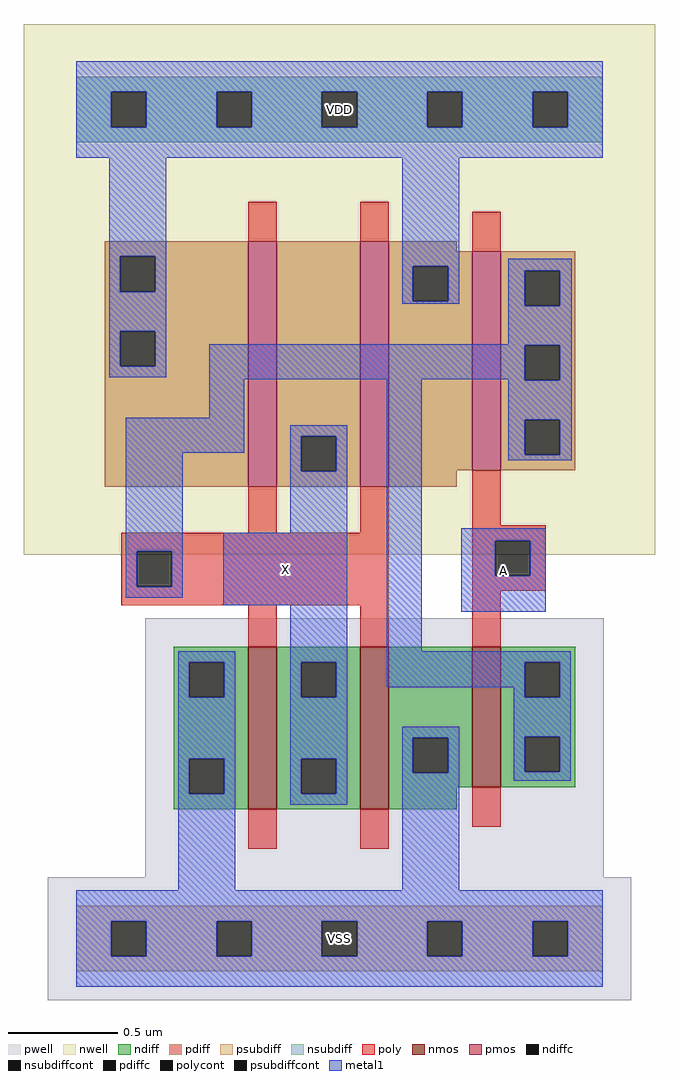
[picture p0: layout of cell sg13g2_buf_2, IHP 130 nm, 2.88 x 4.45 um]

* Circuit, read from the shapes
.subckt sg13g2_buf_2 VSS VDD X A
XM1 X n1 VSS VSS sg13_lv_nmos w=0.74u l=0.13u m=2
XM2 n1 A VSS VSS sg13_lv_nmos w=0.64u l=0.13u
XM3 X n1 VDD VDD sg13_lv_pmos w=1.12u l=0.13u m=2
XM4 n1 A VDD VDD sg13_lv_pmos w=1u l=0.13u
.ends

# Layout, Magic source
magic
tech ihp-sg13g2
magscale 1 2
<< nwell >>
rect -48 350 528 834
<< pwell >>
rect 63 56 481 292
rect -26 -56 506 56
<< nmos >>
rect 157 118 183 266
rect 259 118 285 266
rect 361 138 387 266
<< pmos >>
rect 157 412 183 636
rect 259 412 285 636
rect 361 427 387 627
<< ndiff >>
rect 89 252 157 266
rect 89 220 103 252
rect 135 220 157 252
rect 89 164 157 220
rect 89 132 103 164
rect 135 132 157 164
rect 89 118 157 132
rect 183 252 259 266
rect 183 220 205 252
rect 237 220 259 252
rect 183 164 259 220
rect 183 132 205 164
rect 237 132 259 164
rect 183 118 259 132
rect 285 183 361 266
rect 285 151 307 183
rect 339 151 361 183
rect 285 138 361 151
rect 387 252 455 266
rect 387 220 409 252
rect 441 220 455 252
rect 387 184 455 220
rect 387 152 409 184
rect 441 152 455 184
rect 387 138 455 152
rect 285 118 347 138
<< pdiff >>
rect 26 622 157 636
rect 26 590 40 622
rect 72 590 157 622
rect 26 554 157 590
rect 26 522 40 554
rect 72 522 157 554
rect 26 412 157 522
rect 183 458 259 636
rect 183 426 205 458
rect 237 426 259 458
rect 183 412 259 426
rect 285 627 347 636
rect 285 613 361 627
rect 285 581 307 613
rect 339 581 361 613
rect 285 427 361 581
rect 387 609 455 627
rect 387 577 409 609
rect 441 577 455 609
rect 387 541 455 577
rect 387 509 409 541
rect 441 509 455 541
rect 387 473 455 509
rect 387 441 409 473
rect 441 441 455 473
rect 387 427 455 441
rect 285 412 347 427
<< ndiffc >>
rect 103 220 135 252
rect 103 132 135 164
rect 205 220 237 252
rect 205 132 237 164
rect 307 151 339 183
rect 409 220 441 252
rect 409 152 441 184
<< pdiffc >>
rect 40 590 72 622
rect 40 522 72 554
rect 205 426 237 458
rect 307 581 339 613
rect 409 577 441 609
rect 409 509 441 541
rect 409 441 441 473
<< psubdiff >>
rect 0 16 480 30
rect 0 -16 32 16
rect 64 -16 128 16
rect 160 -16 224 16
rect 256 -16 320 16
rect 352 -16 416 16
rect 448 -16 480 16
rect 0 -30 480 -16
<< nsubdiff >>
rect 0 772 480 786
rect 0 740 32 772
rect 64 740 128 772
rect 160 740 224 772
rect 256 740 320 772
rect 352 740 416 772
rect 448 740 480 772
rect 0 726 480 740
<< psubdiffcont >>
rect 32 -16 64 16
rect 128 -16 160 16
rect 224 -16 256 16
rect 320 -16 352 16
rect 416 -16 448 16
<< nsubdiffcont >>
rect 32 740 64 772
rect 128 740 160 772
rect 224 740 256 772
rect 320 740 352 772
rect 416 740 448 772
<< poly >>
rect 157 636 183 672
rect 259 636 285 672
rect 361 627 387 663
rect 157 370 183 412
rect 259 370 285 412
rect 41 353 285 370
rect 41 321 55 353
rect 87 321 285 353
rect 41 304 285 321
rect 157 266 183 304
rect 259 266 285 304
rect 361 377 387 427
rect 361 363 428 377
rect 361 331 382 363
rect 414 331 428 363
rect 361 317 428 331
rect 361 266 387 317
rect 157 82 183 118
rect 259 82 285 118
rect 361 102 387 138
<< polycont >>
rect 55 321 87 353
rect 382 331 414 363
<< metal1 >>
rect 0 772 480 800
rect 0 740 32 772
rect 64 740 128 772
rect 160 740 224 772
rect 256 740 320 772
rect 352 740 416 772
rect 448 740 480 772
rect 0 712 480 740
rect 30 622 82 712
rect 30 590 40 622
rect 72 590 82 622
rect 30 554 82 590
rect 297 613 349 712
rect 297 581 307 613
rect 339 581 349 613
rect 297 579 349 581
rect 394 609 452 620
rect 30 522 40 554
rect 72 522 82 554
rect 394 577 409 609
rect 441 577 452 609
rect 394 542 452 577
rect 30 512 82 522
rect 121 541 452 542
rect 121 510 409 541
rect 121 475 153 510
rect 45 443 153 475
rect 195 458 247 468
rect 45 353 97 443
rect 195 426 205 458
rect 237 426 247 458
rect 195 370 247 426
rect 45 321 55 353
rect 87 321 97 353
rect 45 311 97 321
rect 134 304 247 370
rect 93 252 145 262
rect 93 220 103 252
rect 135 220 145 252
rect 93 164 145 220
rect 93 132 103 164
rect 135 132 145 164
rect 93 44 145 132
rect 195 252 247 304
rect 195 220 205 252
rect 237 220 247 252
rect 283 262 315 510
rect 394 509 409 510
rect 441 509 452 541
rect 394 473 452 509
rect 394 441 409 473
rect 441 441 452 473
rect 394 436 452 441
rect 351 363 428 374
rect 351 331 382 363
rect 414 331 428 363
rect 351 298 428 331
rect 283 252 451 262
rect 283 229 409 252
rect 195 164 247 220
rect 399 220 409 229
rect 441 220 451 252
rect 195 132 205 164
rect 237 132 247 164
rect 195 122 247 132
rect 297 183 349 193
rect 297 151 307 183
rect 339 151 349 183
rect 297 44 349 151
rect 399 184 451 220
rect 399 152 409 184
rect 441 152 451 184
rect 399 144 451 152
rect 0 16 480 44
rect 0 -16 32 16
rect 64 -16 128 16
rect 160 -16 224 16
rect 256 -16 320 16
rect 352 -16 416 16
rect 448 -16 480 16
rect 0 -44 480 -16
<< labels >>
flabel metal1 s 0 -44 480 44 0 FreeSans 400 0 0 0 VSS
port 2 nsew
flabel metal1 s 0 712 480 800 0 FreeSans 400 0 0 0 VDD
port 3 nsew
flabel metal1 s 134 304 247 370 0 FreeSans 400 0 0 0 X
port 4 nsew
flabel metal1 s 351 298 428 374 0 FreeSans 400 0 0 0 A
port 5 nsew
<< properties >>
string FIXED_BBOX 0 0 480 756
string GDS_END 79354
string GDS_FILE 6_final.gds
string GDS_START 75138
<< end >>
